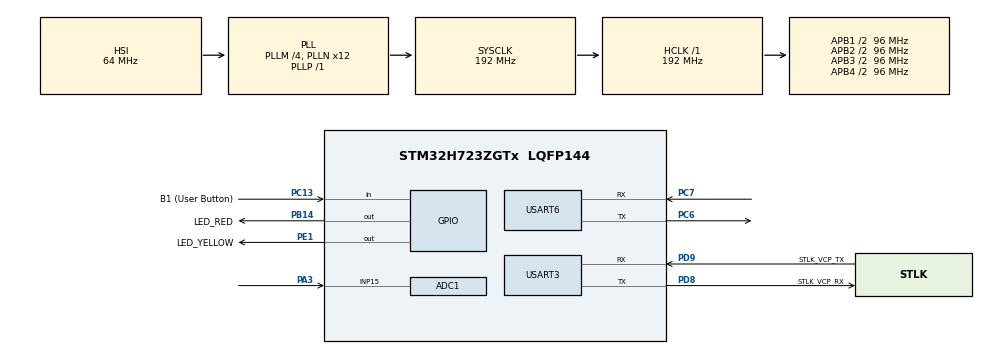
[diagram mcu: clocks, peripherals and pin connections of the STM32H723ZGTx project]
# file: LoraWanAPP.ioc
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ADC1.Channel-0\#ChannelRegularConversion=ADC_CHANNEL_15
ADC1.ContinuousConvMode=DISABLE
ADC1.ConversionDataManagement=ADC_CONVERSIONDATA_DR
ADC1.NbrOfConversionFlag=1
ADC1.OffsetNumber-0\#ChannelRegularConversion=ADC_OFFSET_NONE
ADC1.OffsetSignedSaturation-0\#ChannelRegularConversion=DISABLE
ADC1.Rank-0\#ChannelRegularConversion=1
ADC1.SamplingTime-0\#ChannelRegularConversion=ADC_SAMPLETIME_1CYCLE_5
ADC1.master=1
CORTEX_M7.default_mode_Activation=1
Mcu.Family=STM32H7
Mcu.Name=STM32H723ZGTx
Mcu.Package=LQFP144
NVIC.ADC_IRQn=true\:0\:0\:false\:false\:true\:true\:true\:true
NVIC.PriorityGroup=NVIC_PRIORITYGROUP_4
NVIC.USART6_IRQn=true\:0\:0\:false\:false\:true\:true\:true\:true
PA13(JTMS/SWDIO).GPIO_Label=SWDIO
PA13(JTMS/SWDIO).Signal=DEBUG_JTMS-SWDIO
PA14(JTCK/SWCLK).GPIO_Label=SWCLK
PA14(JTCK/SWCLK).Signal=DEBUG_JTCK-SWCLK
PA3.Signal=ADCx_INP15
PB14.GPIO_Label=LED_RED
PB14.Signal=GPIO_Output
PC13.GPIO_Label=B1 (User Button)
PC13.Signal=GPIO_Input
PC14-OSC32_IN.Signal=RCC_OSC32_IN
PC15-OSC32_OUT.Signal=RCC_OSC32_OUT
PC6.Mode=Asynchronous
PC6.Signal=USART6_TX
PC7.Mode=Asynchronous
PC7.Signal=USART6_RX
PD8.GPIO_Label=STLK_VCP_RX
PD8.Mode=Asynchronous
PD8.Signal=USART3_TX
PD9.GPIO_Label=STLK_VCP_TX
PD9.Mode=Asynchronous
PD9.Signal=USART3_RX
PE1.GPIO_Label=LED_YELLOW
PE1.Signal=GPIO_Output
ProjectManager.HeapSize=0x200
ProjectManager.StackSize=0x400
ProjectManager.TargetToolchain=STM32CubeIDE
RCC.ADCFreq_Value=48000000
RCC.APB1Freq_Value=96000000
RCC.APB2Freq_Value=96000000
RCC.APB3Freq_Value=96000000
RCC.APB4Freq_Value=96000000
RCC.CortexFreq_Value=192000000
RCC.D1PPRE=RCC_APB3_DIV2
RCC.D2PPRE1=RCC_APB1_DIV2
RCC.D2PPRE2=RCC_APB2_DIV2
RCC.D3PPRE=RCC_APB4_DIV2
RCC.DIVM1=4
RCC.DIVM2=4
RCC.DIVN1=12
RCC.DIVN2=12
RCC.DIVP1=1
RCC.DIVP2=4
RCC.DIVQ1=4
RCC.HCLKFreq_Value=192000000
RCC.HSE_VALUE=8000000
RCC.PLL2FRACN=0
RCC.PLLFRACN=0
RCC.SYSCLKFreq_VALUE=192000000
RCC.SYSCLKSource=RCC_SYSCLKSOURCE_PLLCLK
RCC.USBCLockSelection=RCC_USBCLKSOURCE_HSI48
RCC.USBFreq_Value=48000000
SH.ADCx_INP15.0=ADC1_INP15,IN15-Single-Ended
USART3.VirtualMode-Asynchronous=VM_ASYNC
USART6.VirtualMode-Asynchronous=VM_ASYNC
VP_MEMORYMAP_VS_MEMORYMAP.Mode=CurAppReg
board=NUCLEO-H723ZG

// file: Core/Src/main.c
/* USER CODE BEGIN Header */
/**
  ******************************************************************************
  * @file           : main.c
  * @brief          : Main program body
  ******************************************************************************
  * @attention
  *
  * Copyright (c) 2025 STMicroelectronics.
  * All rights reserved.
  *
  * This software is licensed under terms that can be found in the LICENSE file
  * in the root directory of this software component.
  * If no LICENSE file comes with this software, it is provided AS-IS.
  *
  ******************************************************************************
  */
/* USER CODE END Header */
#include "main.h"

/* USER CODE BEGIN Includes */
#include "string.h"
#include <stdio.h>
#include <stdlib.h>

/* USER CODE END Includes */

ADC_HandleTypeDef hadc1;

UART_HandleTypeDef huart3;
UART_HandleTypeDef huart6;

/* USER CODE BEGIN PV */
#define RXBUF_SIZE 512
#define CMD_TIMEOUT 2000  // ms

volatile uint8_t rxBuf[RXBUF_SIZE];
volatile uint16_t rxIndex = 0;
uint8_t rxByte;

volatile uint8_t joined = 0;  // flag after join success

/* New: queue received line for main to log */
volatile uint8_t rx_line_ready = 0;
char rx_line[RXBUF_SIZE];
volatile uint32_t rx_bytes_total = 0; // add near your globals

#define ADC_SAMPLES 10
uint16_t ADC_VAL[ADC_SAMPLES];
volatile uint8_t adc_index = 0;
volatile uint8_t adc_ready_flag = 0;
uint32_t adc_avg = 0;

/* USER CODE END PV */

void SystemClock_Config(void);
static void MPU_Config(void);
static void MX_GPIO_Init(void);
static void MX_USART3_UART_Init(void);
static void MX_USART6_UART_Init(void);
static void MX_ADC1_Init(void);

/* USER CODE BEGIN 0 */

int value = 0;

long map(long x, long in_min, long in_max, long out_min, long out_max)
{
	return (x - in_min) * (out_max - out_min + 1) / (in_max - in_min + 1) + out_min;
}

void hexToAscii(const char *hex, char *ascii)
{
    while (*hex && *(hex + 1))
    {
        char byte[3] = { hex[0], hex[1], '\0' };
        *ascii++ = (char)strtol(byte, NULL, 16);
        hex += 2;
    }
    *ascii = '\0';
}

void asciiToHex(const char *ascii, char *hex)
{
    while (*ascii)
    {
        sprintf(hex, "%02X", (unsigned char)*ascii);
        hex += 2;
        ascii++;
    }
    *hex = '\0';
}

void logMessage(const char *msg)
{
	  HAL_UART_Transmit(&huart3, (uint8_t*)msg, strlen(msg), HAL_MAX_DELAY);

}

void sendCommand(const char *cmd)
{
    char msg[128];
    sprintf(msg, "\r\n>>> %s", cmd);
    logMessage(msg);

    HAL_UART_Transmit(&huart6, (uint8_t*)cmd, strlen(cmd), HAL_MAX_DELAY);
}

void handleDownlink(char *response)
{

		char hexPayload[128];
	    char asciiPayload[64];

	    // Format 1: +EVT:RX_DATA:HEXDATA
	    if (strstr(response, "+EVT:RX_DATA:"))
	    {
	        char *p = strstr(response, "+EVT:RX_DATA:") + strlen("+EVT:RX_DATA:");
	        strcpy(hexPayload, p);
	    }
	    // Format 2: +0:UNICAST:PORT:HEXDATA
	    else if (strstr(response, "UNICAST"))
	    {
	        char *p = strchr(response, ':'); // skip +0
	        p = strchr(p + 1, ':');         // skip UNICAST
	        p = strchr(p + 1, ':') + 1;     // now pointing at HEXDATA
	        strcpy(hexPayload, p);
	    }
	    else
	        return;

	    // remove CR/LF
	    char *newline = strpbrk(hexPayload, "\r\n");
	    if (newline) *newline = '\0';

	    // Convert hex → ASCII
	    hexToAscii(hexPayload, asciiPayload);

	    char msg[128];
	    sprintf(msg, "Received downlink: [%s]\r\n", asciiPayload);
	    logMessage(msg);

}

//void HAL_UART_RxCpltCallback(UART_HandleTypeDef *huart)
//{
//    if (huart == &huart6)
//    {
//        logMessage("Byte received: ");
//        char b[2] = {rxByte, 0};
//        logMessage(b);
//        logMessage("\r\n");
//
//        HAL_UART_Receive_IT(&huart6, &rxByte, 1);
//    }
//}

void HAL_UART_RxCpltCallback(UART_HandleTypeDef *huart)
{
    if (huart == &huart6)
    {
        if (rxIndex < RXBUF_SIZE - 1)
        {
            if (rxByte != '\r')       // skip carriage return
                rxBuf[rxIndex++] = rxByte;

            if (rxByte == '\n')       // end of line
            {
                rxBuf[rxIndex-1] = '\0';   // terminate string before '\n'
                strncpy((char*)rx_line, (char*)rxBuf, RXBUF_SIZE-1);
                rx_line[RXBUF_SIZE-1] = '\0';
                rx_line_ready = 1;
                rxIndex = 0; // reset buffer
            }
        }
        else
        {
            rxIndex = 0; // safety reset on overflow
        }

        // Continue receiving next byte
        HAL_UART_Receive_IT(&huart6, &rxByte, 1);
    }
}

//void HAL_UART_RxCpltCallback(UART_HandleTypeDef *huart)
//{
//    if (huart == &huart6)
//    {
//        logMessage("Byte received: ");
//        char b[2] = {rxByte, 0};
//        logMessage(b);
//        logMessage("\r\n");
//
//        HAL_UART_Receive_IT(&huart6, &rxByte, 1);
//    }
//}

//void HAL_UART_RxCpltCallback(UART_HandleTypeDef *huart)
//{
//    if (huart->Instance == USART6)
//    {
//        uint8_t b = rxByte;
//
//        if (b == '\r')
//        {
//            // ignore CR
//        }
//        else if (b == '\n')
//        {
//            // terminate line
//            rxBuf[rxIndex] = '\0';
//
//            // copy safely for main loop
//            strncpy((char*)rx_line, (char*)rxBuf, RXBUF_SIZE - 1);
//            rx_line[RXBUF_SIZE - 1] = '\0';
//
//            rx_line_ready = 1;   // signal main loop
//            rxIndex = 0;         // reset for next line
//        }
//        else
//        {
//            if (rxIndex < RXBUF_SIZE - 1)
//                rxBuf[rxIndex++] = b;
//        }
//
//        // re-arm immediately
//        HAL_UART_Receive_IT(&huart6, &rxByte, 1);
//    }
//}

//void HAL_UART_RxCpltCallback(UART_HandleTypeDef *huart)
//{
//    if (huart == &huart6)
//    {
//        if (rxIndex < RXBUF_SIZE - 1)
//        {
//            if (rxByte == '\r')
//            {
//                // Ignore carriage return
//            }
//            else if (rxByte == '\n')
//            {
//                rxBuf[rxIndex] = '\0'; // terminate string
//                strncpy((char*)rx_line, (char*)rxBuf, RXBUF_SIZE-1);
//                rx_line[RXBUF_SIZE-1] = '\0';
//                rx_line_ready = 1;
//
//                if (strstr((char*)rxBuf, "+EVT:JOINED"))
//                    joined = 1;
//
//                rxIndex = 0; // reset buffer
//            }
//            else
//            {
//                rxBuf[rxIndex++] = rxByte;
//            }
//        }
//        else
//        {
//            rxIndex = 0; // overflow safety
//        }
//
//        // Continue receiving
//        HAL_UART_Receive_IT(&huart6, &rxByte, 1);
//    }
//}

//void HAL_UART_RxCpltCallback(UART_HandleTypeDef *huart)
//{
//    if (huart == &huart6)
//    {
//        if (rxIndex < RXBUF_SIZE - 1)
//        {
//            rxBuf[rxIndex++] = rxByte;
//
//            if (rxByte == '\n') // end of line
//            {
//
//            	rxBuf[rxIndex] = '\0';
//
//                // Copy line to a simple queue buffer for main to log/process
//                // keep it short and simple inside IRQ
//                strncpy((char*)rx_line, (char*)rxBuf, RXBUF_SIZE-1);
//                rx_line[RXBUF_SIZE-1] = '\0';
//                rx_line_ready = 1; // main will process
//
//                // detect join success (we can still set small flags)
//                if (strstr((char*)rxBuf, "+EVT:JOINED"))
//                    joined = 1;
//
//                // detect downlink (RX) — instead of handling fully here, set a flag
//                // and process in main to avoid complex work inside IRQ.
//                // We still set rx_line_ready so main will call handleDownlink() too.
//
//                rxIndex = 0; // reset buffer for next line
//
//
//            }
//        }
//
//        // continue receiving next byte
//        HAL_UART_Receive_IT(&huart6, &rxByte, 1);
//    }
//}

void sendLoRaData(const char *asciiData)
{
    char hexBuf[256];
    char cmd[300];
    asciiToHex(asciiData, hexBuf);
    sprintf(cmd, "AT+SEND=2:%s\r\n", hexBuf);
    sendCommand(cmd);
}

void HAL_ADC_ConvCpltCallback(ADC_HandleTypeDef *hadc)
{
    if (hadc->Instance == ADC1)
    {
        ADC_VAL[adc_index++] = HAL_ADC_GetValue(hadc);

        if (adc_index < ADC_SAMPLES)
        {
            // Start next sample — still within this 10-sample burst
            HAL_ADC_Start_IT(hadc);
        }
        else
        {
            // Done capturing 10 samples
            uint32_t sum = 0;
            for (uint8_t i = 0; i < ADC_SAMPLES; i++)
                sum += ADC_VAL[i];

            adc_avg = sum / ADC_SAMPLES;
            adc_index = 0;
            adc_ready_flag = 1;
        }
    }
}

void sendADCData(void)
{
    char debugMsg[64];
    sprintf(debugMsg, "Raw ADC average: %lu\r\n", adc_avg);
    logMessage(debugMsg);

    char cmd[64];
    sprintf(cmd, "AT+SEND=2:%04lX\r\n", adc_avg);
    sendCommand(cmd);
}

/* USER CODE END 0 */

int main(void)
{

  /* MPU Configuration--------------------------------------------------------*/
  MPU_Config();

  /* MCU Configuration--------------------------------------------------------*/

  /* Reset of all peripherals, Initializes the Flash interface and the Systick. */
  HAL_Init();

  /* Configure the system clock */
  SystemClock_Config();

  /* Initialize all configured peripherals */
  MX_GPIO_Init();
  MX_USART3_UART_Init();
  MX_USART6_UART_Init();
  MX_ADC1_Init();
  /* USER CODE BEGIN 2 */

  HAL_NVIC_SetPriority(ADC_IRQn, 1, 0);
  HAL_NVIC_EnableIRQ(ADC_IRQn);

  logMessage("Starting UART6 receive interrupt...\r\n");
    if (HAL_UART_Receive_IT(&huart6, &rxByte, 1) != HAL_OK)
        logMessage("UART6 receive start failed!\r\n");
    else
        logMessage("UART6 receive started successfully.\r\n");

      HAL_UART_Transmit(&huart3, (uint8_t*)"System Ready\r\n", 14, HAL_MAX_DELAY);

      logMessage("Starting ADC interrupt...\r\n");

      HAL_ADC_Start_IT(&hadc1);

      logMessage("ADC started OK\r\n");

      HAL_UART_Receive_IT(&huart6, &rxByte, 1);

      HAL_Delay(3000);	// wait for RAK3172 boot

    // --- LoRaWAN Configuration ---
      sendCommand("AT+BAND=?\r\n"); // AS923
      HAL_Delay(1000);
      sendCommand("AT+NWM=1\r\n");       // LoRaWAN mode
      HAL_Delay(1000);
      sendCommand("AT+NJM=1\r\n");       // OTAA join
      HAL_Delay(1000);
      sendCommand("AT+CLASS=A\r\n");     // Class A
      HAL_Delay(1000);

      // Replace with your own keys!
      sendCommand("AT+DEVEUI=?\r\n");    // Check device EUI
      HAL_Delay(1000);
      sendCommand("AT+APPEUI=9fea10f39807ba65\r\n");  // Example - replace
      HAL_Delay(1000);
      sendCommand("AT+APPKEY=b60760e86425b30c14ac4d6042cb4d72\r\n"); // Example - replace
      HAL_Delay(1000);

      // --- Join network ---
      sendCommand("AT+JOIN=1:0:10:8\r\n");
      logMessage("Waiting for join...\r\n");

      // Wait for join success

      uint32_t start = HAL_GetTick();
      while (!joined && (HAL_GetTick() - start < 60000))  // 60s timeout
      {
          HAL_Delay(100);
      }

      if (joined)
          logMessage("Joined network successfully!\r\n");
      else
      {
          logMessage("Join failed or timed out.\r\n");
          // wait for module to be ready before retry
          HAL_Delay(5000);
      }

  /* USER CODE END 2 */

  /* Infinite loop */
  while (1)
  {

    /* USER CODE BEGIN 3 */

//	  value = map(ADC_VAL[0], 10000, 65535, 0, 100);

	  // First: handle any queued UART lines (previously avoided inside IRQ)
	     if (rx_line_ready)
	     {
	         // process the copied line in rx_line
	         // print raw response
	         logMessage("<<< Response: ");
	         logMessage(rx_line);
	         logMessage("\r\n");

	         // detect downlink or join again and call existing handler
             if (strstr(rx_line, "+EVT:JOINED"))
	             joined = 1;

	         if (strstr(rx_line, "+EVT:RX") || strstr(rx_line, "UNICAST"))
	             handleDownlink(rx_line);

	         rx_line_ready = 0;

      }

	  if (joined)
	  {
		  // copy adc data atomically to avoid race with IRQ
		    uint32_t local_adc_avg;
		    __disable_irq();
		    local_adc_avg = adc_avg;
		    adc_ready_flag = 0; // reset
		    __enable_irq();

		    // send using local copy
		    char debugMsg[64];
		    sprintf(debugMsg, "Raw ADC average: %lu\r\n", local_adc_avg);
		    logMessage(debugMsg);

		    char cmd[64];
		    sprintf(cmd, "AT+SEND=2:%04lX\r\n", (unsigned long)local_adc_avg);
		    sendCommand(cmd);

		    HAL_Delay(1000);

		    // Start a new ADC burst (10 samples)
	        HAL_ADC_Start_IT(&hadc1);

	  }
	  else
	  {
	      // Retry join every 30s if failed
	      sendCommand("AT+JOIN=1:0:10:8\r\n");
	      HAL_Delay(30000);
	  }

  }
  /* USER CODE END 3 */
}

void SystemClock_Config(void)
{
  RCC_OscInitTypeDef RCC_OscInitStruct = {0};
  RCC_ClkInitTypeDef RCC_ClkInitStruct = {0};

  /** Supply configuration update enable
  */
  HAL_PWREx_ConfigSupply(PWR_LDO_SUPPLY);

  /** Configure the main internal regulator output voltage
  */
  __HAL_PWR_VOLTAGESCALING_CONFIG(PWR_REGULATOR_VOLTAGE_SCALE1);

  while(!__HAL_PWR_GET_FLAG(PWR_FLAG_VOSRDY)) {}

  /** Initializes the RCC Oscillators according to the specified parameters
  * in the RCC_OscInitTypeDef structure.
  */
  RCC_OscInitStruct.OscillatorType = RCC_OSCILLATORTYPE_HSI;
  RCC_OscInitStruct.HSIState = RCC_HSI_DIV1;
  RCC_OscInitStruct.HSICalibrationValue = 64;
  RCC_OscInitStruct.PLL.PLLState = RCC_PLL_ON;
  RCC_OscInitStruct.PLL.PLLSource = RCC_PLLSOURCE_HSI;
  RCC_OscInitStruct.PLL.PLLM = 4;
  RCC_OscInitStruct.PLL.PLLN = 12;
  RCC_OscInitStruct.PLL.PLLP = 1;
  RCC_OscInitStruct.PLL.PLLQ = 4;
  RCC_OscInitStruct.PLL.PLLR = 2;
  RCC_OscInitStruct.PLL.PLLRGE = RCC_PLL1VCIRANGE_3;
  RCC_OscInitStruct.PLL.PLLVCOSEL = RCC_PLL1VCOWIDE;
  RCC_OscInitStruct.PLL.PLLFRACN = 0;
  if (HAL_RCC_OscConfig(&RCC_OscInitStruct) != HAL_OK)
  {
    Error_Handler();
  }

  /** Initializes the CPU, AHB and APB buses clocks
  */
  RCC_ClkInitStruct.ClockType = RCC_CLOCKTYPE_HCLK|RCC_CLOCKTYPE_SYSCLK
                              |RCC_CLOCKTYPE_PCLK1|RCC_CLOCKTYPE_PCLK2
                              |RCC_CLOCKTYPE_D3PCLK1|RCC_CLOCKTYPE_D1PCLK1;
  RCC_ClkInitStruct.SYSCLKSource = RCC_SYSCLKSOURCE_PLLCLK;
  RCC_ClkInitStruct.SYSCLKDivider = RCC_SYSCLK_DIV1;
  RCC_ClkInitStruct.AHBCLKDivider = RCC_HCLK_DIV1;
  RCC_ClkInitStruct.APB3CLKDivider = RCC_APB3_DIV2;
  RCC_ClkInitStruct.APB1CLKDivider = RCC_APB1_DIV2;
  RCC_ClkInitStruct.APB2CLKDivider = RCC_APB2_DIV2;
  RCC_ClkInitStruct.APB4CLKDivider = RCC_APB4_DIV2;

  if (HAL_RCC_ClockConfig(&RCC_ClkInitStruct, FLASH_LATENCY_2) != HAL_OK)
  {
    Error_Handler();
  }
}

static void MX_ADC1_Init(void)
{

  ADC_MultiModeTypeDef multimode = {0};
  ADC_ChannelConfTypeDef sConfig = {0};

  /** Common config
  */
  hadc1.Instance = ADC1;
  hadc1.Init.ClockPrescaler = ADC_CLOCK_ASYNC_DIV1;
  hadc1.Init.Resolution = ADC_RESOLUTION_16B;
  hadc1.Init.ScanConvMode = ADC_SCAN_DISABLE;
  hadc1.Init.EOCSelection = ADC_EOC_SINGLE_CONV;
  hadc1.Init.LowPowerAutoWait = DISABLE;
  hadc1.Init.ContinuousConvMode = DISABLE;
  hadc1.Init.NbrOfConversion = 1;
  hadc1.Init.DiscontinuousConvMode = DISABLE;
  hadc1.Init.ExternalTrigConv = ADC_SOFTWARE_START;
  hadc1.Init.ExternalTrigConvEdge = ADC_EXTERNALTRIGCONVEDGE_NONE;
  hadc1.Init.ConversionDataManagement = ADC_CONVERSIONDATA_DR;
  hadc1.Init.Overrun = ADC_OVR_DATA_PRESERVED;
  hadc1.Init.LeftBitShift = ADC_LEFTBITSHIFT_NONE;
  hadc1.Init.OversamplingMode = DISABLE;
  hadc1.Init.Oversampling.Ratio = 1;
  if (HAL_ADC_Init(&hadc1) != HAL_OK)
  {
    Error_Handler();
  }

  /** Configure the ADC multi-mode
  */
  multimode.Mode = ADC_MODE_INDEPENDENT;
  if (HAL_ADCEx_MultiModeConfigChannel(&hadc1, &multimode) != HAL_OK)
  {
    Error_Handler();
  }

  /** Configure Regular Channel
  */
  sConfig.Channel = ADC_CHANNEL_15;
  sConfig.Rank = ADC_REGULAR_RANK_1;
  sConfig.SamplingTime = ADC_SAMPLETIME_810CYCLES_5;
  sConfig.SingleDiff = ADC_SINGLE_ENDED;
  sConfig.OffsetNumber = ADC_OFFSET_NONE;
  sConfig.Offset = 0;
  sConfig.OffsetSignedSaturation = DISABLE;
  if (HAL_ADC_ConfigChannel(&hadc1, &sConfig) != HAL_OK)
  {
    Error_Handler();
  }

}

static void MX_USART3_UART_Init(void)
{

  huart3.Instance = USART3;
  huart3.Init.BaudRate = 115200;
  huart3.Init.WordLength = UART_WORDLENGTH_8B;
  huart3.Init.StopBits = UART_STOPBITS_1;
  huart3.Init.Parity = UART_PARITY_NONE;
  huart3.Init.Mode = UART_MODE_TX_RX;
  huart3.Init.HwFlowCtl = UART_HWCONTROL_NONE;
  huart3.Init.OverSampling = UART_OVERSAMPLING_16;
  huart3.Init.OneBitSampling = UART_ONE_BIT_SAMPLE_DISABLE;
  huart3.Init.ClockPrescaler = UART_PRESCALER_DIV1;
  huart3.AdvancedInit.AdvFeatureInit = UART_ADVFEATURE_NO_INIT;
  if (HAL_UART_Init(&huart3) != HAL_OK)
  {
    Error_Handler();
  }
  if (HAL_UARTEx_SetTxFifoThreshold(&huart3, UART_TXFIFO_THRESHOLD_1_8) != HAL_OK)
  {
    Error_Handler();
  }
  if (HAL_UARTEx_SetRxFifoThreshold(&huart3, UART_RXFIFO_THRESHOLD_1_8) != HAL_OK)
  {
    Error_Handler();
  }
  if (HAL_UARTEx_DisableFifoMode(&huart3) != HAL_OK)
  {
    Error_Handler();
  }

}

static void MX_USART6_UART_Init(void)
{

  huart6.Instance = USART6;
  huart6.Init.BaudRate = 115200;
  huart6.Init.WordLength = UART_WORDLENGTH_8B;
  huart6.Init.StopBits = UART_STOPBITS_1;
  huart6.Init.Parity = UART_PARITY_NONE;
  huart6.Init.Mode = UART_MODE_TX_RX;
  huart6.Init.HwFlowCtl = UART_HWCONTROL_NONE;
  huart6.Init.OverSampling = UART_OVERSAMPLING_16;
  huart6.Init.OneBitSampling = UART_ONE_BIT_SAMPLE_DISABLE;
  huart6.Init.ClockPrescaler = UART_PRESCALER_DIV1;
  huart6.AdvancedInit.AdvFeatureInit = UART_ADVFEATURE_NO_INIT;
  if (HAL_UART_Init(&huart6) != HAL_OK)
  {
    Error_Handler();
  }
  if (HAL_UARTEx_SetTxFifoThreshold(&huart6, UART_TXFIFO_THRESHOLD_1_8) != HAL_OK)
  {
    Error_Handler();
  }
  if (HAL_UARTEx_SetRxFifoThreshold(&huart6, UART_RXFIFO_THRESHOLD_1_8) != HAL_OK)
  {
    Error_Handler();
  }
  if (HAL_UARTEx_DisableFifoMode(&huart6) != HAL_OK)
  {
    Error_Handler();
  }

}

static void MX_GPIO_Init(void)
{
  GPIO_InitTypeDef GPIO_InitStruct = {0};

  /* GPIO Ports Clock Enable */
  __HAL_RCC_GPIOC_CLK_ENABLE();
  __HAL_RCC_GPIOA_CLK_ENABLE();
  __HAL_RCC_GPIOB_CLK_ENABLE();
  __HAL_RCC_GPIOD_CLK_ENABLE();
  __HAL_RCC_GPIOE_CLK_ENABLE();

  /*Configure GPIO pin Output Level */
  HAL_GPIO_WritePin(LED_RED_GPIO_Port, LED_RED_Pin, GPIO_PIN_RESET);

  /*Configure GPIO pin Output Level */
  HAL_GPIO_WritePin(LED_YELLOW_GPIO_Port, LED_YELLOW_Pin, GPIO_PIN_RESET);

  /*Configure GPIO pin : B1_Pin */
  GPIO_InitStruct.Pin = B1_Pin;
  GPIO_InitStruct.Mode = GPIO_MODE_INPUT;
  GPIO_InitStruct.Pull = GPIO_NOPULL;
  HAL_GPIO_Init(B1_GPIO_Port, &GPIO_InitStruct);

  /*Configure GPIO pin : LED_RED_Pin */
  GPIO_InitStruct.Pin = LED_RED_Pin;
  GPIO_InitStruct.Mode = GPIO_MODE_OUTPUT_PP;
  GPIO_InitStruct.Pull = GPIO_NOPULL;
  GPIO_InitStruct.Speed = GPIO_SPEED_FREQ_LOW;
  HAL_GPIO_Init(LED_RED_GPIO_Port, &GPIO_InitStruct);

  /*Configure GPIO pin : LED_YELLOW_Pin */
  GPIO_InitStruct.Pin = LED_YELLOW_Pin;
  GPIO_InitStruct.Mode = GPIO_MODE_OUTPUT_PP;
  GPIO_InitStruct.Pull = GPIO_NOPULL;
  GPIO_InitStruct.Speed = GPIO_SPEED_FREQ_LOW;
  HAL_GPIO_Init(LED_YELLOW_GPIO_Port, &GPIO_InitStruct);

}

 /* MPU Configuration */

void MPU_Config(void)
{
  MPU_Region_InitTypeDef MPU_InitStruct = {0};

  /* Disables the MPU */
  HAL_MPU_Disable();

  /** Initializes and configures the Region and the memory to be protected
  */
  MPU_InitStruct.Enable = MPU_REGION_ENABLE;
  MPU_InitStruct.Number = MPU_REGION_NUMBER0;
  MPU_InitStruct.BaseAddress = 0x0;
  MPU_InitStruct.Size = MPU_REGION_SIZE_4GB;
  MPU_InitStruct.SubRegionDisable = 0x87;
  MPU_InitStruct.TypeExtField = MPU_TEX_LEVEL0;
  MPU_InitStruct.AccessPermission = MPU_REGION_NO_ACCESS;
  MPU_InitStruct.DisableExec = MPU_INSTRUCTION_ACCESS_DISABLE;
  MPU_InitStruct.IsShareable = MPU_ACCESS_SHAREABLE;
  MPU_InitStruct.IsCacheable = MPU_ACCESS_NOT_CACHEABLE;
  MPU_InitStruct.IsBufferable = MPU_ACCESS_NOT_BUFFERABLE;

  HAL_MPU_ConfigRegion(&MPU_InitStruct);
  /* Enables the MPU */
  HAL_MPU_Enable(MPU_PRIVILEGED_DEFAULT);

}

void Error_Handler(void)
{
  __disable_irq();
  while (1)
  {
  }
}
